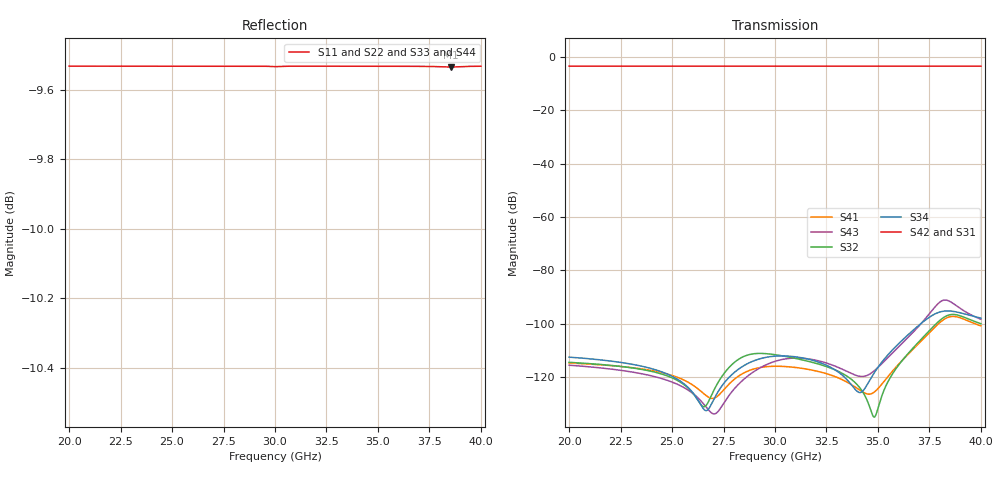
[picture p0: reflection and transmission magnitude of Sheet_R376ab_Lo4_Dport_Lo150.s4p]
! TOUCHSTONE file generated by CST MICROWAVE STUDIO
! Date and time: Tue Mar 11 15:59:49 2025
! Project name: Sheet_R376ab_Lo4.cst
! Parameters = {Dport=-5.69231; Dspace=5.76923; Lamb=11.5385; Rs=376; Xs=0; a=2.88462; b=2.88462; phi=0; theta=0}
! Header version: 2024
! Port assignment regex: !\s*Touchstone port\s*([0-9]+)\s*=\s*(CST MWS port|CST DES external port|CST DES block port)\s*(.+)\s* \(\"(.*)\"\)(\s*mode\s*([0-9]+))?.*
! Touchstone port assignment:
! Touchstone port 1 = CST MWS port Zmax ("") mode 1
! Touchstone port 2 = CST MWS port Zmax ("") mode 2
! Touchstone port 3 = CST MWS port Zmin ("") mode 1
! Touchstone port 4 = CST MWS port Zmin ("") mode 2
# GHz S MA R 376.73
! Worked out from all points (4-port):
!   1001 points, 20 GHz to 40 GHz, reference 376.73 ohm
!   strongest paths, dB at 20 GHz, 25 GHz, 30 GHz, 35 GHz, 40 GHz:
!     S42: -3.5, -3.5, -3.5, -3.5, -3.5
!     S31: -3.5, -3.5, -3.5, -3.5, -3.5
!     S34: -112.5, -119.6, -112.1, -116.3, -97.9
!     S32: -114.4, -120.2, -111.6, -131.6, -100.0
!     S43: -115.5, -121.8, -114.1, -116.3, -98.3
!     S41: -114.7, -119.3, -115.9, -124.3, -100.8
!   lowest |S11| = -9.5 dB at 38.54 GHz (marker M1), VSWR 2.00, Z = 188 + j0.0021 ohm
!   |S11| at or under -10 dB: nowhere
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20  0.3338 -180.0  1.339e-06 -93.1  0.6662 -1.8  1.247e-06 49.6
    1.237e-06 -89.8  0.3338 -180.0  1.712e-06 98.4  0.6662 -1.8
    0.6662 -1.8  1.897e-06 101.6  0.3338 176.3  2.375e-06 -103.4
    1.844e-06 96.8  0.6662 -1.8  1.677e-06 -129.2  0.3338 176.3
29.84  0.3337 180.0  5.419e-06 -24.7  0.6661 -2.8  4.188e-06 124.9
       5.77e-06 -5.8  0.3337 180.0  4.536e-06 146.5  0.6662 -2.8
       0.6662 -2.8  2.69e-06 169.7  0.3337 174.5  2.445e-06 -4.0
       1.597e-06 -172.3  0.6662 -2.8  1.887e-06 -8.3  0.3337 174.5
30.36  0.3338 -180.0  3.986e-06 -56.4  0.6661 -2.8  3.534e-06 104.9
       3.918e-06 -49.7  0.3338 -180.0  3.738e-06 135.5  0.6661 -2.8
       0.6662 -2.8  2.506e-06 161.2  0.3337 174.4  2.504e-06 -14.1
       1.593e-06 179.9  0.6662 -2.8  2.151e-06 -22.2  0.3337 174.4
31  0.3338 -180.0  2.572e-06 -67.3  0.6662 -2.8  2.798e-06 93.8
    2.28e-06 -60.9  0.3338 -180.0  3.111e-06 129.1  0.6661 -2.9
    0.6663 -2.9  2.246e-06 154.2  0.3337 174.3  2.406e-06 -24.8
    1.52e-06 173.2  0.6663 -2.9  2.283e-06 -39.0  0.3337 174.3
32.3  0.3338 -180.0  1.321e-06 -56.8  0.6663 -3.0  1.932e-06 90.3
      1.1e-06 -44.6  0.3338 -180.0  2.365e-06 125.1  0.6663 -3.0
      0.6663 -3.0  1.675e-06 147.4  0.3337 174.0  1.803e-06 -42.4
      1.224e-06 168.2  0.6663 -3.0  1.941e-06 -70.2  0.3337 174.0
38.54  0.3337 180.0  2.385e-05 -44.1  0.6662 -3.6  1.136e-05 152.9
       1.845e-05 -50.8  0.3337 180.0  8.769e-06 -53.6  0.6662 -3.6
       0.6662 -3.6  1.486e-05 35.0  0.3337 172.9  1.729e-05 -130.0
       1.365e-05 32.8  0.6662 -3.6  2.562e-05 -139.1  0.3337 172.9
40  0.3338 180.0  1.117e-05 -89.3  0.6662 -3.7  1.191e-05 73.2
    9.388e-06 -83.9  0.3338 180.0  1.091e-05 60.7  0.6662 -3.7
    0.6662 -3.7  1.003e-05 88.7  0.3337 172.6  1.277e-05 -97.7
    9.12e-06 88.7  0.6662 -3.7  1.217e-05 -103.8  0.3337 172.6
